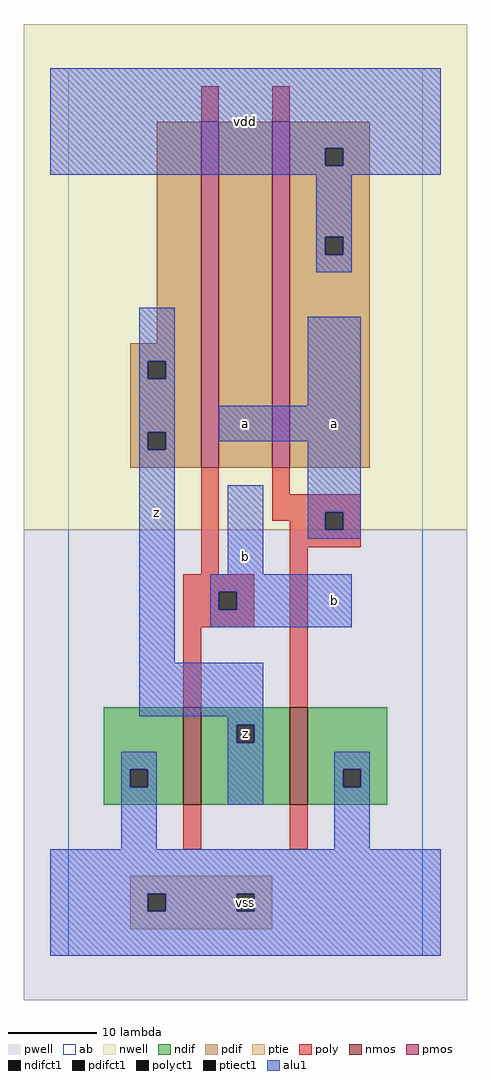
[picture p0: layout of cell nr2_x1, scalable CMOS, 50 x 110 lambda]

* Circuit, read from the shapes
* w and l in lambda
.subckt nr2_x1 a b vdd vss z
M1 z b vss vss nfet w=11 l=2
M2 vss a z vss nfet w=11 l=2
M3 n1 b z n2 pfet w=39 l=2
M4 vdd a n1 n2 pfet w=39 l=2
.ends

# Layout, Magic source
magic
tech scmos
<< ab >>
rect 0 0 40 100
<< nwell >>
rect -5 48 45 105
<< pwell >>
rect -5 -5 45 48
<< poly >>
rect 15 94 17 98
rect 23 94 25 98
rect 15 43 17 55
rect 23 52 25 55
rect 23 50 33 52
rect 23 49 29 50
rect 25 48 29 49
rect 31 48 33 50
rect 25 46 33 48
rect 13 41 21 43
rect 13 39 17 41
rect 19 39 21 41
rect 13 37 21 39
rect 13 28 15 37
rect 25 28 27 46
rect 13 12 15 17
rect 25 12 27 17
<< ndif >>
rect 4 21 13 28
rect 4 19 7 21
rect 9 19 13 21
rect 4 17 13 19
rect 15 26 25 28
rect 15 24 19 26
rect 21 24 25 26
rect 15 17 25 24
rect 27 21 36 28
rect 27 19 31 21
rect 33 19 36 21
rect 27 17 36 19
<< pdif >>
rect 10 69 15 94
rect 7 67 15 69
rect 7 65 9 67
rect 11 65 15 67
rect 7 59 15 65
rect 7 57 9 59
rect 11 57 15 59
rect 7 55 15 57
rect 17 55 23 94
rect 25 91 34 94
rect 25 89 29 91
rect 31 89 34 91
rect 25 81 34 89
rect 25 79 29 81
rect 31 79 34 81
rect 25 55 34 79
<< alu1 >>
rect -2 91 42 100
rect -2 89 29 91
rect 31 89 42 91
rect -2 88 42 89
rect 28 81 32 88
rect 28 79 29 81
rect 31 79 32 81
rect 28 77 32 79
rect 8 67 12 73
rect 8 65 9 67
rect 11 65 12 67
rect 8 59 12 65
rect 27 62 33 72
rect 8 57 9 59
rect 11 57 12 59
rect 17 58 33 62
rect 8 33 12 57
rect 18 43 22 53
rect 27 50 33 58
rect 27 48 29 50
rect 31 48 33 50
rect 27 47 33 48
rect 16 41 32 43
rect 16 39 17 41
rect 19 39 32 41
rect 16 37 32 39
rect 8 27 22 33
rect 18 26 22 27
rect 18 24 19 26
rect 21 24 22 26
rect 6 21 10 23
rect 6 19 7 21
rect 9 19 10 21
rect 6 12 10 19
rect 18 17 22 24
rect 30 21 34 23
rect 30 19 31 21
rect 33 19 34 21
rect 30 12 34 19
rect -2 7 42 12
rect -2 5 9 7
rect 11 5 19 7
rect 21 5 42 7
rect -2 0 42 5
<< ptie >>
rect 7 7 23 9
rect 7 5 9 7
rect 11 5 19 7
rect 21 5 23 7
rect 7 3 23 5
<< nmos >>
rect 13 17 15 28
rect 25 17 27 28
<< pmos >>
rect 15 55 17 94
rect 23 55 25 94
<< polyct1 >>
rect 29 48 31 50
rect 17 39 19 41
<< ndifct1 >>
rect 7 19 9 21
rect 19 24 21 26
rect 31 19 33 21
<< ptiect1 >>
rect 9 5 11 7
rect 19 5 21 7
<< pdifct1 >>
rect 9 65 11 67
rect 9 57 11 59
rect 29 89 31 91
rect 29 79 31 81
<< labels >>
rlabel alu1 10 50 10 50 6 z
rlabel ptiect1 20 6 20 6 6 vss
rlabel ndifct1 20 25 20 25 6 z
rlabel alu1 20 45 20 45 6 b
rlabel alu1 20 60 20 60 6 a
rlabel alu1 20 94 20 94 6 vdd
rlabel alu1 30 40 30 40 6 b
rlabel alu1 30 60 30 60 6 a
<< end >>
